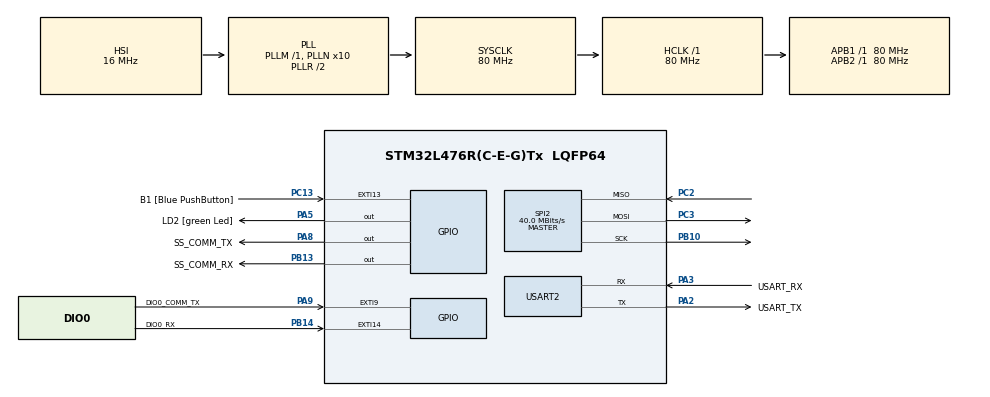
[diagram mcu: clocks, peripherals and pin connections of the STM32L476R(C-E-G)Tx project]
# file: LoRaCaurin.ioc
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Mcu.Family=STM32L4
Mcu.Name=STM32L476R(C-E-G)Tx
Mcu.Package=LQFP64
NVIC.EXTI15_10_IRQn=true\:0\:0\:false\:false\:true\:true\:true
NVIC.EXTI9_5_IRQn=true\:0\:0\:false\:false\:true\:true\:true
NVIC.PriorityGroup=NVIC_PRIORITYGROUP_4
PA13\ (JTMS-SWDIO).GPIO_Label=TMS
PA13\ (JTMS-SWDIO).Mode=Serial_Wire
PA13\ (JTMS-SWDIO).Signal=SYS_JTMS-SWDIO
PA14\ (JTCK-SWCLK).GPIO_Label=TCK
PA14\ (JTCK-SWCLK).Mode=Serial_Wire
PA14\ (JTCK-SWCLK).Signal=SYS_JTCK-SWCLK
PA2.GPIO_Label=USART_TX
PA2.GPIO_Mode=GPIO_MODE_AF_PP
PA2.GPIO_PuPd=GPIO_NOPULL
PA2.GPIO_Speed=GPIO_SPEED_FREQ_VERY_HIGH
PA2.Mode=Asynchronous
PA2.Signal=USART2_TX
PA3.GPIO_Label=USART_RX
PA3.GPIO_Mode=GPIO_MODE_AF_PP
PA3.GPIO_PuPd=GPIO_NOPULL
PA3.GPIO_Speed=GPIO_SPEED_FREQ_VERY_HIGH
PA3.Mode=Asynchronous
PA3.Signal=USART2_RX
PA5.GPIO_Label=LD2 [green Led]
PA5.GPIO_ModeDefaultOutputPP=GPIO_MODE_OUTPUT_PP
PA5.GPIO_PuPd=GPIO_NOPULL
PA5.GPIO_Speed=GPIO_SPEED_FREQ_LOW
PA5.Signal=GPIO_Output
PA8.GPIO_Label=SS_COMM_TX
PA8.PinState=GPIO_PIN_SET
PA8.Signal=GPIO_Output
PA9.GPIO_Label=DIO0_COMM_TX
PA9.GPIO_ModeDefaultEXTI=GPIO_MODE_IT_FALLING
PA9.Signal=GPXTI9
PB10.Mode=Full_Duplex_Master
PB10.Signal=SPI2_SCK
PB13.GPIO_Label=SS_COMM_RX
PB13.PinState=GPIO_PIN_SET
PB13.Signal=GPIO_Output
PB14.GPIO_Label=DIO0_RX
PB14.GPIO_ModeDefaultEXTI=GPIO_MODE_IT_FALLING
PB14.Signal=GPXTI14
PB3\ (JTDO-TRACESWO).GPIO_Label=SWO
PB3\ (JTDO-TRACESWO).Signal=SYS_JTDO-SWO
PC13.GPIO_Label=B1 [Blue PushButton]
PC13.GPIO_ModeDefaultEXTI=GPIO_MODE_IT_FALLING
PC13.GPIO_PuPd=GPIO_NOPULL
PC13.Signal=GPXTI13
PC14-OSC32_IN\ (PC14).Mode=LSE-External-Oscillator
PC14-OSC32_IN\ (PC14).Signal=RCC_OSC32_IN
PC15-OSC32_OUT\ (PC15).Mode=LSE-External-Oscillator
PC15-OSC32_OUT\ (PC15).Signal=RCC_OSC32_OUT
PC2.Mode=Full_Duplex_Master
PC2.Signal=SPI2_MISO
PC3.Mode=Full_Duplex_Master
PC3.Signal=SPI2_MOSI
PH0-OSC_IN\ (PH0).Signal=RCC_OSC_IN
PH1-OSC_OUT\ (PH1).Signal=RCC_OSC_OUT
ProjectManager.HeapSize=0x200
ProjectManager.StackSize=0x400
ProjectManager.TargetToolchain=STM32CubeIDE
RCC.ADCFreq_Value=64000000
RCC.AHBFreq_Value=80000000
RCC.APB1Freq_Value=80000000
RCC.APB1TimFreq_Value=80000000
RCC.APB2Freq_Value=80000000
RCC.APB2TimFreq_Value=80000000
RCC.CortexFreq_Value=80000000
RCC.HCLKFreq_Value=80000000
RCC.HSE_VALUE=8000000
RCC.HSI_VALUE=16000000
RCC.MSI_VALUE=4000000
RCC.PLLN=10
RCC.PLLSourceVirtual=RCC_PLLSOURCE_HSI
RCC.PREFETCH_ENABLE=1
RCC.SYSCLKFreq_VALUE=80000000
RCC.SYSCLKSource=RCC_SYSCLKSOURCE_PLLCLK
RCC.USBFreq_Value=64000000
RCC.VCOOutputFreq_Value=160000000
SPI2.CalculateBaudRate=40.0 MBits/s
SPI2.DataSize=SPI_DATASIZE_8BIT
SPI2.Direction=SPI_DIRECTION_2LINES
SPI2.Mode=SPI_MODE_MASTER
SPI2.VirtualType=VM_MASTER
TIM3.Period=0xffff
TIM3.Prescaler=79
USART2.VirtualMode-Asynchronous=VM_ASYNC
VP_TIM3_VS_ClockSourceINT.Mode=Internal
board=NUCLEO-L476RG

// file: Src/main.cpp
/* USER CODE BEGIN Header */
/**
  ******************************************************************************
  * @file           : main.c
  * @brief          : Main program body
  ******************************************************************************
  * @attention
  *
  * <h2><center>&copy; Copyright (c) 2019 STMicroelectronics.
  * All rights reserved.</center></h2>
  *
  * This software component is licensed by ST under BSD 3-Clause license,
  * the "License"; You may not use this file except in compliance with the
  * License. You may obtain a copy of the License at:
  *                        opensource.org/licenses/BSD-3-Clause
  *
  ******************************************************************************
  */
/* USER CODE END Header */

#include "main.h"

/* USER CODE BEGIN Includes */
#include "lora.h"

/* USER CODE END Includes */

SPI_HandleTypeDef hspi2;

TIM_HandleTypeDef htim3;

UART_HandleTypeDef huart2;

/* USER CODE BEGIN PV */
typedef struct {
	//INA ina[8];
	float ext;
	float inter;
	float curr;
	float volt;
}LoRaPacket;

LoRaPacket lorapacket, lorapacketRX;
/* USER CODE END PV */

void SystemClock_Config(void);
static void MX_GPIO_Init(void);
static void MX_USART2_UART_Init(void);
static void MX_SPI2_Init(void);
static void MX_TIM3_Init(void);

/* USER CODE BEGIN 0 */
LoRaClass loraRX, loraTX;
int32_t packetSize;
int32_t counter = 0;

/* USER CODE END 0 */

int main(void)
{

  /* MCU Configuration--------------------------------------------------------*/

  /* Reset of all peripherals, Initializes the Flash interface and the Systick. */
  HAL_Init();

  /* Configure the system clock */
  SystemClock_Config();

  /* Initialize all configured peripherals */
  MX_GPIO_Init();
  MX_USART2_UART_Init();
  MX_SPI2_Init();
  MX_TIM3_Init();
  /* USER CODE BEGIN 2 */
  // OBSERCACOES
  // Falta mudar a frequencia de um dos radios na funcao begin()
  // Os "printf"s nao aparecem no console
  // Falta verificar como a interupcao (DIO0) funciona
  // O receptor do lora nao foi testado no stm

  //Inicializacao RX
  loraRX.setPins(SS_COMM_RX_GPIO_Port, SS_COMM_RX_Pin, NULL, -1, EXTI15_10_IRQn);
  loraRX.setSPI(&hspi2);
  loraRX.setTIM(&htim3);

    if (!loraRX.begin(433.123E6)) {
  	  printf("Starting LoRa RX failed!\n");
  	  while (1);
    }

    loraRX.setSignalBandwidth(125E3);
    loraRX.setSpreadingFactor(11);
    loraRX.enableCrc();
    loraRX.receive();
    printf("LoRa RX started\n");

   //Inicializacao TX
   loraTX.setPins(SS_COMM_TX_GPIO_Port, SS_COMM_TX_Pin, NULL, -1, EXTI15_10_IRQn);
   loraTX.setSPI(&hspi2);
   loraTX.setTIM(&htim3);

   if (!loraTX.begin(433.123E6)) {
	   printf("Starting LoRa RX failed!\n");
	   while (1);
   }
   loraTX.setTxPower(20, 1);
   loraTX.setSignalBandwidth(125E3);
   loraTX.setSpreadingFactor(11);
   loraTX.enableCrc();
   printf("LoRa RX started\n");
  /* USER CODE END 2 */

  /* Infinite loop */
  while (1)
  {

    /* USER CODE BEGIN 3 */
	loraTX.sendPacket(&lorapacket, sizeof(LoRaPacket));
	loraRX.readPacket(&lorapacketRX, sizeof(LoRaPacket));
	continue;
	//Recepcao de pacote
	packetSize = loraRX.parsePacket();

	if (packetSize) {
		printf("Recieved LoRa Packet:\n");
	}

	while (loraRX.available()) {
	    printf("%c", (char)loraRX.read());
	}

	printf("RSSI = %d\n\n", loraRX.packetRssi());

	//Transmissao de pacote
	printf("Sending packet: %d\n", counter);

	// send packet
	loraTX.beginPacket();
	loraTX.print("hello ");
	loraTX.print(counter);
	loraTX.print("\n");
	loraTX.print("LF working");
	loraTX.endPacket();

	counter++;

	HAL_Delay(1500);
  }
  /* USER CODE END 3 */
}

void SystemClock_Config(void)
{
  RCC_OscInitTypeDef RCC_OscInitStruct = {0};
  RCC_ClkInitTypeDef RCC_ClkInitStruct = {0};
  RCC_PeriphCLKInitTypeDef PeriphClkInit = {0};

  /** Initializes the CPU, AHB and APB busses clocks
  */
  RCC_OscInitStruct.OscillatorType = RCC_OSCILLATORTYPE_HSI;
  RCC_OscInitStruct.HSIState = RCC_HSI_ON;
  RCC_OscInitStruct.HSICalibrationValue = RCC_HSICALIBRATION_DEFAULT;
  RCC_OscInitStruct.PLL.PLLState = RCC_PLL_ON;
  RCC_OscInitStruct.PLL.PLLSource = RCC_PLLSOURCE_HSI;
  RCC_OscInitStruct.PLL.PLLM = 1;
  RCC_OscInitStruct.PLL.PLLN = 10;
  RCC_OscInitStruct.PLL.PLLP = RCC_PLLP_DIV7;
  RCC_OscInitStruct.PLL.PLLQ = RCC_PLLQ_DIV2;
  RCC_OscInitStruct.PLL.PLLR = RCC_PLLR_DIV2;
  if (HAL_RCC_OscConfig(&RCC_OscInitStruct) != HAL_OK)
  {
    Error_Handler();
  }
  /** Initializes the CPU, AHB and APB busses clocks
  */
  RCC_ClkInitStruct.ClockType = RCC_CLOCKTYPE_HCLK|RCC_CLOCKTYPE_SYSCLK
                              |RCC_CLOCKTYPE_PCLK1|RCC_CLOCKTYPE_PCLK2;
  RCC_ClkInitStruct.SYSCLKSource = RCC_SYSCLKSOURCE_PLLCLK;
  RCC_ClkInitStruct.AHBCLKDivider = RCC_SYSCLK_DIV1;
  RCC_ClkInitStruct.APB1CLKDivider = RCC_HCLK_DIV1;
  RCC_ClkInitStruct.APB2CLKDivider = RCC_HCLK_DIV1;

  if (HAL_RCC_ClockConfig(&RCC_ClkInitStruct, FLASH_LATENCY_4) != HAL_OK)
  {
    Error_Handler();
  }
  PeriphClkInit.PeriphClockSelection = RCC_PERIPHCLK_USART2;
  PeriphClkInit.Usart2ClockSelection = RCC_USART2CLKSOURCE_PCLK1;
  if (HAL_RCCEx_PeriphCLKConfig(&PeriphClkInit) != HAL_OK)
  {
    Error_Handler();
  }
  /** Configure the main internal regulator output voltage
  */
  if (HAL_PWREx_ControlVoltageScaling(PWR_REGULATOR_VOLTAGE_SCALE1) != HAL_OK)
  {
    Error_Handler();
  }
}

static void MX_SPI2_Init(void)
{

  /* SPI2 parameter configuration*/
  hspi2.Instance = SPI2;
  hspi2.Init.Mode = SPI_MODE_MASTER;
  hspi2.Init.Direction = SPI_DIRECTION_2LINES;
  hspi2.Init.DataSize = SPI_DATASIZE_8BIT;
  hspi2.Init.CLKPolarity = SPI_POLARITY_LOW;
  hspi2.Init.CLKPhase = SPI_PHASE_1EDGE;
  hspi2.Init.NSS = SPI_NSS_SOFT;
  hspi2.Init.BaudRatePrescaler = SPI_BAUDRATEPRESCALER_2;
  hspi2.Init.FirstBit = SPI_FIRSTBIT_MSB;
  hspi2.Init.TIMode = SPI_TIMODE_DISABLE;
  hspi2.Init.CRCCalculation = SPI_CRCCALCULATION_DISABLE;
  hspi2.Init.CRCPolynomial = 7;
  hspi2.Init.CRCLength = SPI_CRC_LENGTH_DATASIZE;
  hspi2.Init.NSSPMode = SPI_NSS_PULSE_ENABLE;
  if (HAL_SPI_Init(&hspi2) != HAL_OK)
  {
    Error_Handler();
  }

}

static void MX_TIM3_Init(void)
{

  TIM_ClockConfigTypeDef sClockSourceConfig = {0};
  TIM_MasterConfigTypeDef sMasterConfig = {0};

  htim3.Instance = TIM3;
  htim3.Init.Prescaler = 79;
  htim3.Init.CounterMode = TIM_COUNTERMODE_UP;
  htim3.Init.Period = 0xffff;
  htim3.Init.ClockDivision = TIM_CLOCKDIVISION_DIV1;
  htim3.Init.AutoReloadPreload = TIM_AUTORELOAD_PRELOAD_DISABLE;
  if (HAL_TIM_Base_Init(&htim3) != HAL_OK)
  {
    Error_Handler();
  }
  sClockSourceConfig.ClockSource = TIM_CLOCKSOURCE_INTERNAL;
  if (HAL_TIM_ConfigClockSource(&htim3, &sClockSourceConfig) != HAL_OK)
  {
    Error_Handler();
  }
  sMasterConfig.MasterOutputTrigger = TIM_TRGO_RESET;
  sMasterConfig.MasterSlaveMode = TIM_MASTERSLAVEMODE_DISABLE;
  if (HAL_TIMEx_MasterConfigSynchronization(&htim3, &sMasterConfig) != HAL_OK)
  {
    Error_Handler();
  }

}

static void MX_USART2_UART_Init(void)
{

  huart2.Instance = USART2;
  huart2.Init.BaudRate = 115200;
  huart2.Init.WordLength = UART_WORDLENGTH_8B;
  huart2.Init.StopBits = UART_STOPBITS_1;
  huart2.Init.Parity = UART_PARITY_NONE;
  huart2.Init.Mode = UART_MODE_TX_RX;
  huart2.Init.HwFlowCtl = UART_HWCONTROL_NONE;
  huart2.Init.OverSampling = UART_OVERSAMPLING_16;
  huart2.Init.OneBitSampling = UART_ONE_BIT_SAMPLE_DISABLE;
  huart2.AdvancedInit.AdvFeatureInit = UART_ADVFEATURE_NO_INIT;
  if (HAL_UART_Init(&huart2) != HAL_OK)
  {
    Error_Handler();
  }

}

static void MX_GPIO_Init(void)
{
  GPIO_InitTypeDef GPIO_InitStruct = {0};

  /* GPIO Ports Clock Enable */
  __HAL_RCC_GPIOC_CLK_ENABLE();
  __HAL_RCC_GPIOH_CLK_ENABLE();
  __HAL_RCC_GPIOA_CLK_ENABLE();
  __HAL_RCC_GPIOB_CLK_ENABLE();

  /*Configure GPIO pin Output Level */
  HAL_GPIO_WritePin(LD2_GPIO_Port, LD2_Pin, GPIO_PIN_RESET);

  /*Configure GPIO pin Output Level */
  HAL_GPIO_WritePin(SS_COMM_RX_GPIO_Port, SS_COMM_RX_Pin, GPIO_PIN_SET);

  /*Configure GPIO pin Output Level */
  HAL_GPIO_WritePin(SS_COMM_TX_GPIO_Port, SS_COMM_TX_Pin, GPIO_PIN_SET);

  /*Configure GPIO pin : B1_Pin */
  GPIO_InitStruct.Pin = B1_Pin;
  GPIO_InitStruct.Mode = GPIO_MODE_IT_FALLING;
  GPIO_InitStruct.Pull = GPIO_NOPULL;
  HAL_GPIO_Init(B1_GPIO_Port, &GPIO_InitStruct);

  /*Configure GPIO pins : LD2_Pin SS_COMM_TX_Pin */
  GPIO_InitStruct.Pin = LD2_Pin|SS_COMM_TX_Pin;
  GPIO_InitStruct.Mode = GPIO_MODE_OUTPUT_PP;
  GPIO_InitStruct.Pull = GPIO_NOPULL;
  GPIO_InitStruct.Speed = GPIO_SPEED_FREQ_LOW;
  HAL_GPIO_Init(GPIOA, &GPIO_InitStruct);

  /*Configure GPIO pin : SS_COMM_RX_Pin */
  GPIO_InitStruct.Pin = SS_COMM_RX_Pin;
  GPIO_InitStruct.Mode = GPIO_MODE_OUTPUT_PP;
  GPIO_InitStruct.Pull = GPIO_NOPULL;
  GPIO_InitStruct.Speed = GPIO_SPEED_FREQ_LOW;
  HAL_GPIO_Init(SS_COMM_RX_GPIO_Port, &GPIO_InitStruct);

  /*Configure GPIO pin : DIO0_RX_Pin */
  GPIO_InitStruct.Pin = DIO0_RX_Pin;
  GPIO_InitStruct.Mode = GPIO_MODE_IT_FALLING;
  GPIO_InitStruct.Pull = GPIO_NOPULL;
  HAL_GPIO_Init(DIO0_RX_GPIO_Port, &GPIO_InitStruct);

  /*Configure GPIO pin : DIO0_COMM_TX_Pin */
  GPIO_InitStruct.Pin = DIO0_COMM_TX_Pin;
  GPIO_InitStruct.Mode = GPIO_MODE_IT_FALLING;
  GPIO_InitStruct.Pull = GPIO_NOPULL;
  HAL_GPIO_Init(DIO0_COMM_TX_GPIO_Port, &GPIO_InitStruct);

  /* EXTI interrupt init*/
  HAL_NVIC_SetPriority(EXTI9_5_IRQn, 0, 0);
  HAL_NVIC_EnableIRQ(EXTI9_5_IRQn);

  HAL_NVIC_SetPriority(EXTI15_10_IRQn, 0, 0);
  HAL_NVIC_EnableIRQ(EXTI15_10_IRQn);

}

/* USER CODE BEGIN 4 */
void HAL_GPIO_EXTI_Callback (uint16_t GPIO_Pin){
	if(GPIO_Pin == DIO0_COMM_TX_Pin){
		loraTX.onDio0Rise();
	}
	if(GPIO_Pin == DIO0_RX_Pin){
		loraRX.onDio0Rise();
	}
}

/* USER CODE END 4 */

void Error_Handler(void)
{
}

/************************ (C) COPYRIGHT STMicroelectronics *****END OF FILE****/
